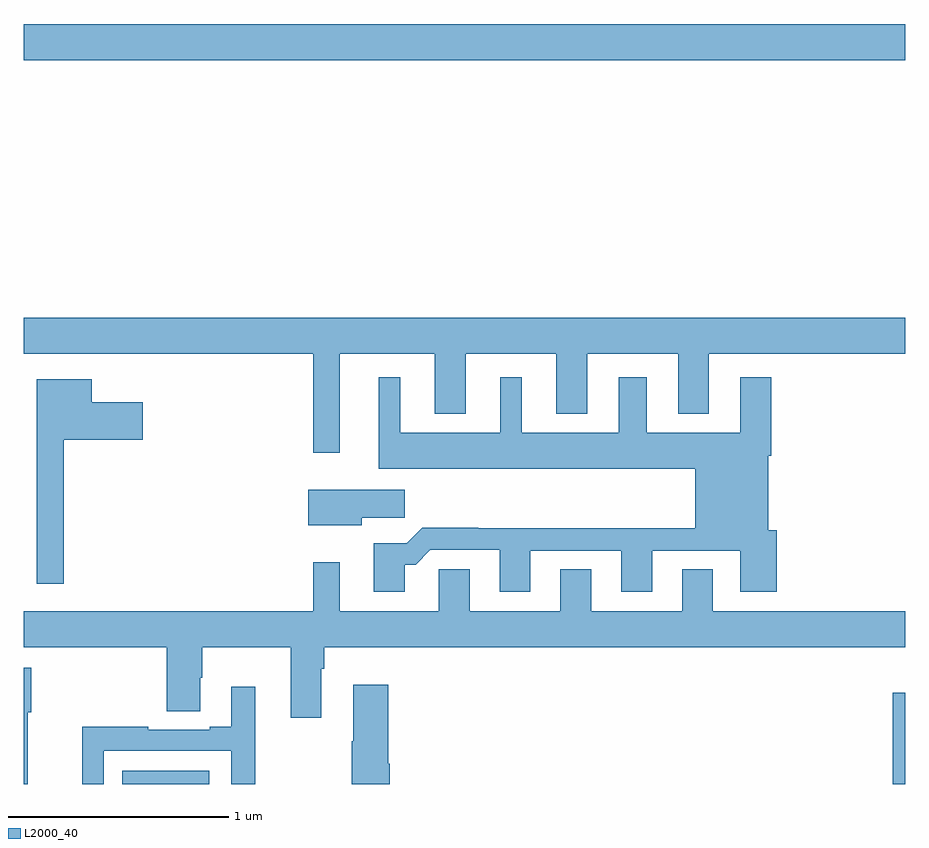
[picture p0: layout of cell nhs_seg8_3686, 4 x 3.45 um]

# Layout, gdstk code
import gdstk
lib = gdstk.Library(unit=1e-6, precision=1e-09)
def R(c, l, rs):  # rectangles x0, y0, x1, y1
    for r in rs: c.add(gdstk.rectangle(r[:2], r[2:], *l))
def P(c, l, *ps):  # polygons
    for p in ps: c.add(gdstk.Polygon(p, *l))
L2000_40 = (2000, 40)

nhs_seg8_3686 = lib.new_cell('nhs_seg8_3686')
R(nhs_seg8_3686, L2000_40, [(339.448,1095.9,339.841,1095.961), (342.943,1095.9,343,1096.315), (339,1099.184,343,1099.348)])
P(nhs_seg8_3686, L2000_40, [(340.435,1097.852),(340.865,1097.852),(340.865,1097.579),(341.005,1097.579),(341.005,1097.852),(341.417,1097.852),(341.417,1097.579),(341.557,1097.579),(341.557,1097.852),(341.969,1097.852),(341.969,1097.579),(342.109,1097.579),(342.109,1097.852),(343,1097.852),(343,1098.016),(339,1098.016),(339,1097.852),(340.314,1097.852),(340.314,1097.403),(340.435,1097.403)],
  [(340.729,1096.895),(340.778,1096.895),(340.845,1096.962),(341.159,1096.962),(341.159,1096.773),(341.299,1096.773),(341.299,1096.959),(341.711,1096.959),(341.711,1096.773),(341.851,1096.773),(341.851,1096.959),(342.251,1096.959),(342.251,1096.773),(342.416,1096.773),(342.416,1097.052),(342.379,1097.052),(342.379,1097.39),(342.392,1097.39),(342.392,1097.746),(342.251,1097.746),(342.251,1097.494),(341.827,1097.494),(341.827,1097.746),(341.699,1097.746),(341.699,1097.494),(341.26,1097.494),(341.26,1097.746),(341.162,1097.746),(341.162,1097.494),(340.708,1097.494),(340.708,1097.746),(340.61,1097.746),(340.61,1097.33),(342.047,1097.33),(342.047,1097.06),(341.063,1097.06),(341.063,1097.063),(340.808,1097.063),(340.738,1096.993),(340.589,1096.993),(340.589,1096.773),(340.729,1096.773)],
  [(339.181,1097.462),(339.541,1097.462),(339.541,1097.632),(339.31,1097.632),(339.31,1097.737),(339.059,1097.737),(339.059,1096.809),(339.181,1096.809)],
  [(340.534,1097.107),(340.729,1097.107),(340.729,1097.236),(340.29,1097.236),(340.29,1097.075),(340.534,1097.075)],
  [(340.351,1096.424),(340.364,1096.424),(340.364,1096.52),(343,1096.52),(343,1096.684),(342.127,1096.684),(342.127,1096.874),(341.987,1096.874),(341.987,1096.684),(341.575,1096.684),(341.575,1096.874),(341.435,1096.874),(341.435,1096.684),(341.023,1096.684),(341.023,1096.874),(340.884,1096.874),(340.884,1096.684),(340.435,1096.684),(340.435,1096.906),(340.314,1096.906),(340.314,1096.684),(339,1096.684),(339,1096.52),(339.65,1096.52),(339.65,1096.231),(339.802,1096.231),(339.802,1096.382),(339.81,1096.382),(339.81,1096.52),(340.211,1096.52),(340.211,1096.2),(340.351,1096.2)],
  [(339.018,1096.225),(339.035,1096.225),(339.035,1096.428),(339,1096.428),(339,1095.9),(339.018,1095.9)],
  [(340.66,1095.993),(340.655,1095.993),(340.655,1096.351),(340.496,1096.351),(340.496,1096.093),(340.489,1096.093),(340.489,1095.9),(340.66,1095.9)],
  [(339.363,1096.05),(339.942,1096.05),(339.942,1095.9),(340.051,1095.9),(340.051,1096.342),(339.941,1096.342),(339.941,1096.159),(339.845,1096.159),(339.845,1096.146),(339.566,1096.146),(339.566,1096.159),(339.265,1096.159),(339.265,1095.9),(339.363,1095.9)])

lib.write_gds('nhs_seg8_3686.gds')
